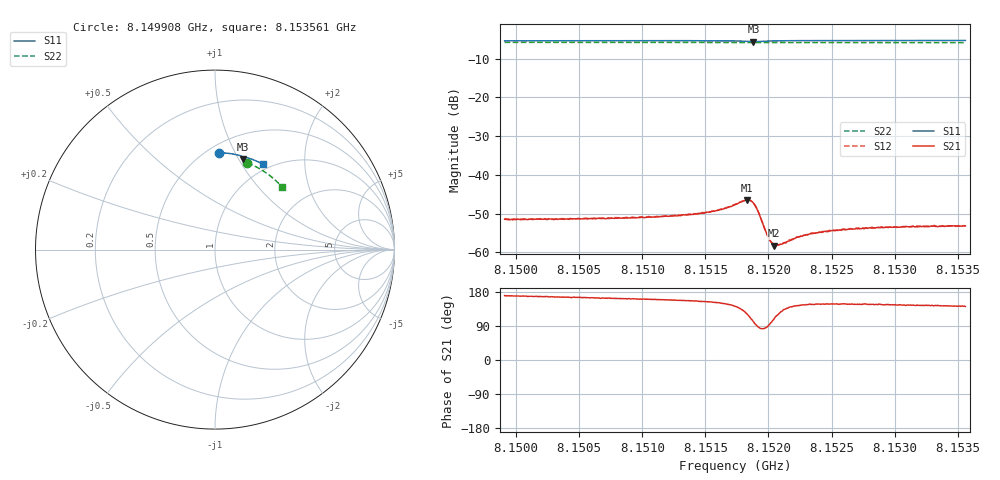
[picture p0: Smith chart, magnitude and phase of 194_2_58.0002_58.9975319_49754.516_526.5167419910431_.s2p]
#  HZ  S  RI  R  50.00
! Rohde & Schwarz Vector Network Analyzer
! Rohde-Schwarz,ZNB20-2Port,1311601062101988,3.16
! Created: UTC 3/21/2024, 12:58:58 AM
! freq[Hz]  re:S11  im:S11  re:S21  im:S21  re:S12  im:S12  re:S22  im:S22
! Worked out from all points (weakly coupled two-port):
!   401 points, 8.149908 GHz to 8.153561 GHz, reference 50 ohm
!   highest |S21| = -46.49 dB at 8.151826 GHz (marker M1); lowest = -58.3 dB at 8.152045 GHz (marker M2)
!   lowest |S11| = -5.6 dB at 8.151881 GHz (marker M3), VSWR 3.22, Z = 37.4 + j52 ohm
!   |S11| at or under -10 dB: nowhere
!   |S22| runs from -5.8 to -5.7 dB; largest |S21 - S12| = 0.00013
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8.1499083e9  0.0245 0.5395  -0.00263 0.000459  -0.00263 0.000523  0.1807 0.4831
8.1505201e9  0.0674 0.5369  -0.0026 0.000713  -0.00262 0.000775  0.2169 0.4673
8.1511319e9  0.1103 0.5305  -0.00269 0.00103  -0.00269 0.00107  0.2518 0.4487
8.1512872e9  0.1212 0.5283  -0.00275 0.00114  -0.00278 0.00119  0.2604 0.4435
8.1515155e9  0.1381 0.5241  -0.00296 0.00147  -0.00293 0.00153  0.2727 0.4355
8.1516433e9  0.148 0.5204  -0.00313 0.00187  -0.00312 0.00192  0.2796 0.4309
8.1517346e9  0.1553 0.5159  -0.00325 0.00253  -0.00324 0.00259  0.2844 0.4274
8.1518259e9  0.1597 0.5069  -0.00257 0.00398  -0.00253 0.00401  0.2891 0.4238
8.1518533e9  0.1582 0.5039  -0.0018 0.00433  -0.00176 0.00439  0.2903 0.4227
8.1518807e9  0.1553 0.5029  -0.000824 0.00423  -0.000745 0.00428  0.2916 0.4217
8.151899e9  0.1535 0.5038  -0.000236 0.00388  -0.000177 0.00392  0.2925 0.4211
8.1519172e9  0.1522 0.5054  0.000154 0.00337  0.000171 0.00339  0.2932 0.4206
8.151972e9  0.1543 0.5113  0.000197 0.00195  0.000203 0.00197  0.2963 0.4189
8.1519994e9  0.1568 0.5128  -1.6e-05 0.00156  -5.88e-06 0.00157  0.2977 0.4179
8.1520268e9  0.1595 0.5139  -0.000255 0.0013  -0.000253 0.0013  0.2991 0.4169
8.1520451e9  0.1613 0.5142  -0.000396 0.00115  -0.000376 0.0012  0.3001 0.4163
8.1520816e9  0.1648 0.5144  -0.000661 0.00106  -0.00066 0.00105  0.302 0.4148
8.1522368e9  0.1779 0.5126  -0.00127 0.000927  -0.00127 0.000954  0.31 0.4088
8.1523464e9  0.1862 0.5104  -0.00146 0.000952  -0.00144 0.00103  0.3154 0.4044
8.152593e9  0.2033 0.5045  -0.00167 0.00105  -0.00169 0.0011  0.3276 0.3942
8.1529582e9  0.2274 0.495  -0.00174 0.0012  -0.00175 0.0012  0.3448 0.3784
8.1535609e9  0.2652 0.4768  -0.00171 0.00137  -0.0017 0.00138  0.3716 0.3511
